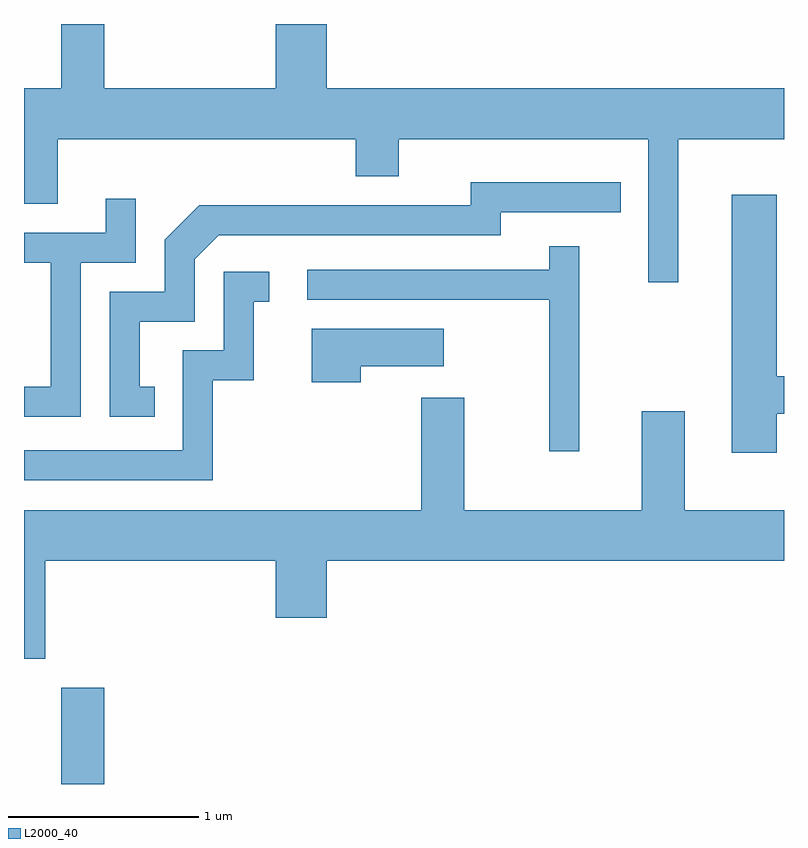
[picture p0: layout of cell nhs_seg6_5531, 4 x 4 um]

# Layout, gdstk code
import gdstk
lib = gdstk.Library(unit=1e-6, precision=1e-09)
def R(c, l, rs):  # rectangles x0, y0, x1, y1
    for r in rs: c.add(gdstk.rectangle(r[:2], r[2:], *l))
def P(c, l, *ps):  # polygons
    for p in ps: c.add(gdstk.Polygon(p, *l))
L2000_40 = (2000, 40)

nhs_seg6_5531 = lib.new_cell('nhs_seg6_5531')
R(nhs_seg6_5531, L2000_40, [(353.806,1582.162,354.034,1582.669)])
P(nhs_seg6_5531, L2000_40, [(357.054,1585.556),(357.611,1585.556),(357.611,1585.824),(355.204,1585.824),(355.204,1586.162),(354.936,1586.162),(354.936,1585.824),(354.034,1585.824),(354.034,1586.162),(353.806,1586.162),(353.806,1585.824),(353.611,1585.824),(353.611,1585.216),(353.789,1585.216),(353.789,1585.556),(355.356,1585.556),(355.356,1585.361),(355.584,1585.361),(355.584,1585.556),(356.896,1585.556),(356.896,1584.803),(357.054,1584.803)],
  [(354.298,1584.254),(354.219,1584.254),(354.219,1584.596),(354.509,1584.596),(354.509,1584.924),(354.637,1585.051),(356.119,1585.051),(356.119,1585.171),(356.753,1585.171),(356.753,1585.329),(355.961,1585.329),(355.961,1585.209),(354.534,1585.209),(354.351,1585.027),(354.351,1584.754),(354.061,1584.754),(354.061,1584.096),(354.298,1584.096)],
  [(357.574,1584.111),(357.611,1584.111),(357.611,1584.309),(357.574,1584.309),(357.574,1585.264),(357.336,1585.264),(357.336,1583.906),(357.574,1583.906)],
  [(353.909,1584.906),(354.199,1584.906),(354.199,1585.243),(354.041,1585.243),(354.041,1585.064),(353.611,1585.064),(353.611,1584.906),(353.751,1584.906),(353.751,1584.254),(353.611,1584.254),(353.611,1584.096),(353.909,1584.096)],
  [(356.534,1584.993),(356.376,1584.993),(356.376,1584.869),(355.103,1584.869),(355.103,1584.711),(356.376,1584.711),(356.376,1583.913),(356.534,1583.913)],
  [(354.604,1584.286),(354.819,1584.286),(354.819,1584.701),(354.903,1584.701),(354.903,1584.859),(354.661,1584.859),(354.661,1584.444),(354.446,1584.444),(354.446,1583.919),(353.611,1583.919),(353.611,1583.761),(354.604,1583.761)],
  [(355.384,1584.361),(355.819,1584.361),(355.819,1584.559),(355.126,1584.559),(355.126,1584.276),(355.384,1584.276)],
  [(353.724,1583.336),(354.936,1583.336),(354.936,1583.036),(355.204,1583.036),(355.204,1583.336),(357.611,1583.336),(357.611,1583.604),(357.089,1583.604),(357.089,1584.124),(356.861,1584.124),(356.861,1583.604),(355.929,1583.604),(355.929,1584.194),(355.701,1584.194),(355.701,1583.604),(353.611,1583.604),(353.611,1582.821),(353.724,1582.821)])

lib.write_gds('nhs_seg6_5531.gds')
